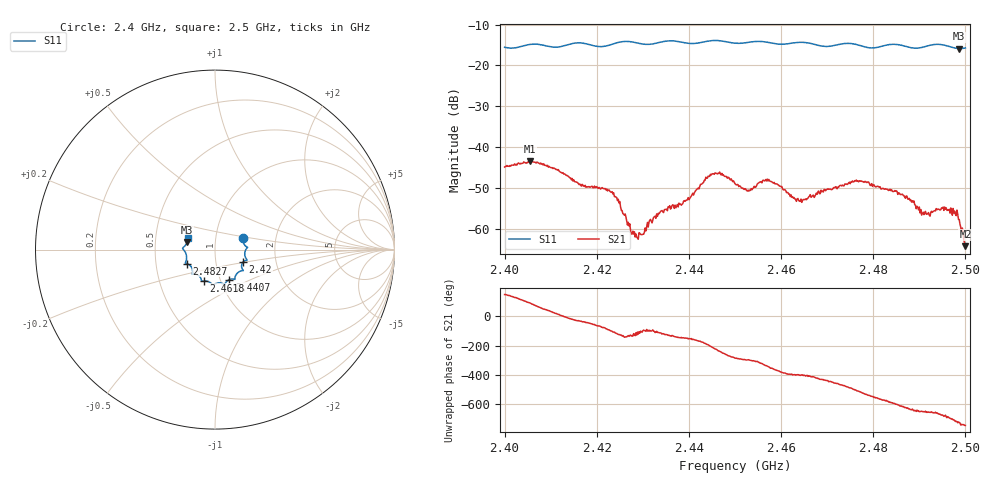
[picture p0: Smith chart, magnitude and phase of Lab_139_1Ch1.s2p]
# Hz S RI R 50
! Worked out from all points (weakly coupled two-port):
!   601 points, 2.4 GHz to 2.5 GHz, reference 50 ohm
!   highest |S21| = -43.35 dB at 2.4055 GHz (marker M1); lowest = -64.1 dB at 2.5 GHz (marker M2)
!   lowest |S11| = -15.9 dB at 2.4987 GHz (marker M3), VSWR 1.38, Z = 36.5 + j3.24 ohm
!   |S11| at or under -10 dB: start of sweep to end of sweep
!   S12 and S22 are empty: the file has one direction only
!   S11 on the Smith chart (normalised r, x): 2.4 GHz: 1.35, +0.17; 2.42 GHz: 1.36, -0.19; 2.4407 GHz: 1.10, -0.38; 2.4618 GHz: 0.83, -0.30; 2.4827 GHz: 0.72, -0.12; 2.5 GHz: 0.73, +0.09
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2.4e9  0.1547 0.0619  -0.00492 0.00296  0 0  0 0
2.4055e9  0.18 0.0134  -0.000148 0.0068  0 0  0 0
2.416667e9  0.1787 -0.0587  0.00281 -0.00184  0 0  0 0
2.42e9  0.1568 -0.069  0.00149 -0.00296  0 0  0 0
2.423833e9  0.1514 -0.1071  -0.000719 -0.0024  0 0  0 0
2.4285e9  0.1488 -0.1179  -0.000322 -0.000816  0 0  0 0
2.433333e9  0.1117 -0.153  -0.00052 -0.00148  0 0  0 0
2.440667e9  0.0792 -0.1674  -0.00244 -0.000973  0 0  0 0
2.445167e9  0.0538 -0.194  -0.00402 0.00257  0 0  0 0
2.45e9  0.027 -0.1852  0.000917 0.00348  0 0  0 0
2.452833e9  -0.000525 -0.1913  0.00132 0.0027  0 0  0 0
2.457167e9  -0.0185 -0.1905  0.00371 0.00117  0 0  0 0
2.461833e9  -0.0614 -0.175  0.00224 -0.00148  0 0  0 0
2.466667e9  -0.076 -0.1681  0.00152 -0.00199  0 0  0 0
2.476e9  -0.1255 -0.1317  -0.00306 -0.00245  0 0  0 0
2.482667e9  -0.158 -0.0776  -0.00249 0.00188  0 0  0 0
2.483333e9  -0.1621 -0.0766  -0.00212 0.00209  0 0  0 0
2.490667e9  -0.1661 -0.013  0.000521 0.00146  0 0  0 0
2.495333e9  -0.1772 0.0114  0.00134 0.00105  0 0  0 0
2.497833e9  -0.1595 0.0318  0.00152 8.51e-05  0 0  0 0
2.498667e9  -0.1547 0.0432  0.00131 -9.51e-05  0 0  0 0
2.5e9  -0.1514 0.063  0.000568 -0.000253  0 0  0 0
